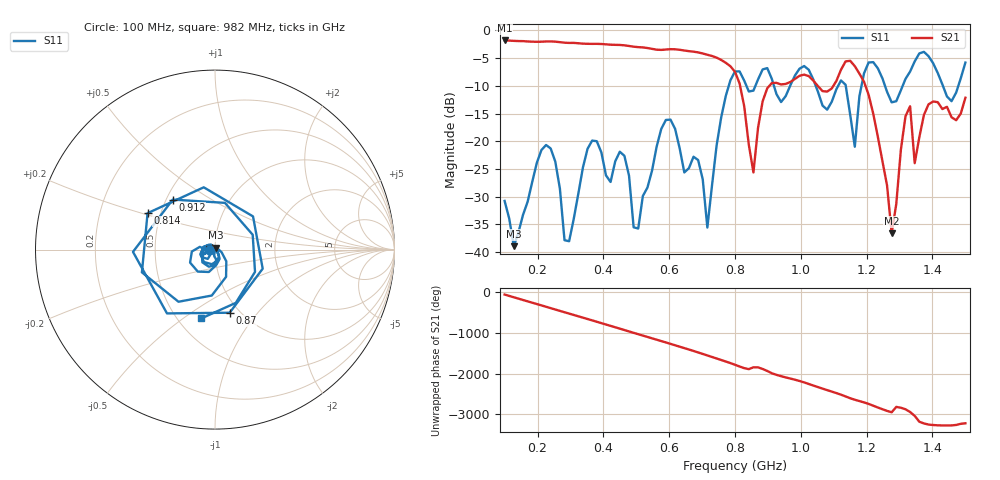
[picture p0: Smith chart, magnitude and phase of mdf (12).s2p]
! NanoVNA-App
! Date: 2025-09-25 15:38:31
! Start: 100MHz Stop: 1,5GHz Points: 101
! S-Parameter data: F S11 S21 S12 S22
# Hz S RI R 50
!  Frequency  S11_Real  S11_Imag  S21_Real  S21_Imag  S12_Real  S12_Imag  S22_Real  S22_Imag
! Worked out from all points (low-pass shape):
!   101 points, 100 MHz to 1.5 GHz, reference 50 ohm
!   highest |S21| = -1.80 dB at 100 MHz (marker M1); lowest = -36.6 dB at 1.276 GHz (marker M2)
!   |S21| within 3 dB of the highest: start of sweep to 739.3 MHz
!   lowest |S11| = -39.0 dB at 128 MHz (marker M3), VSWR 1.02, Z = 50.3 + j1.08 ohm
!   |S11| at or under -10 dB: start of sweep to 781 MHz; 1.045 GHz to 1.113 GHz (68.2 MHz wide, 6.32 % of centre); 1.256 GHz to 1.309 GHz (53.74 MHz wide, 4.19 % of centre) (the widest 3 of 7)
!   S12 and S22 are empty: the file has one direction only
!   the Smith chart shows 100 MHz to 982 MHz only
!   S11 on the Smith chart (normalised r, x): 100 MHz: 0.94, -0.01; 814 MHz: 0.42, +0.21; 870 MHz: 0.90, -0.73; 912 MHz: 0.54, +0.35; 982 MHz: 0.65, -0.59
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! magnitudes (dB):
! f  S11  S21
! 100 MHz  -30.8  -1.8
! 128 MHz  -39.0  -1.9
! 212 MHz  -21.6  -2.0
! 282 MHz  -37.9  -2.2
! 338 MHz  -24.7  -2.4
! 464 MHz  -22.6  -2.7
! 506 MHz  -35.8  -3.0
! 576 MHz  -17.8  -3.5
! 716 MHz  -35.6  -4.4
! 800 MHz  -7.4  -7.5
! 814 MHz  -7.4  -9.6
! 856 MHz  -10.9  -25.6
! 870 MHz  -8.8  -17.6
! 912 MHz  -8.8  -9.5
! 982 MHz  -8.2  -8.8
! 1.038 GHz  -8.9  -9.1
! 1.164 GHz  -21.0  -6.4
! 1.192 GHz  -7.7  -9.3
! 1.276 GHz  -13.0  -36.6
! 1.332 GHz  -7.4  -13.7
! 1.346 GHz  -5.6  -24.0
! 1.5 GHz  -5.8  -12.2
